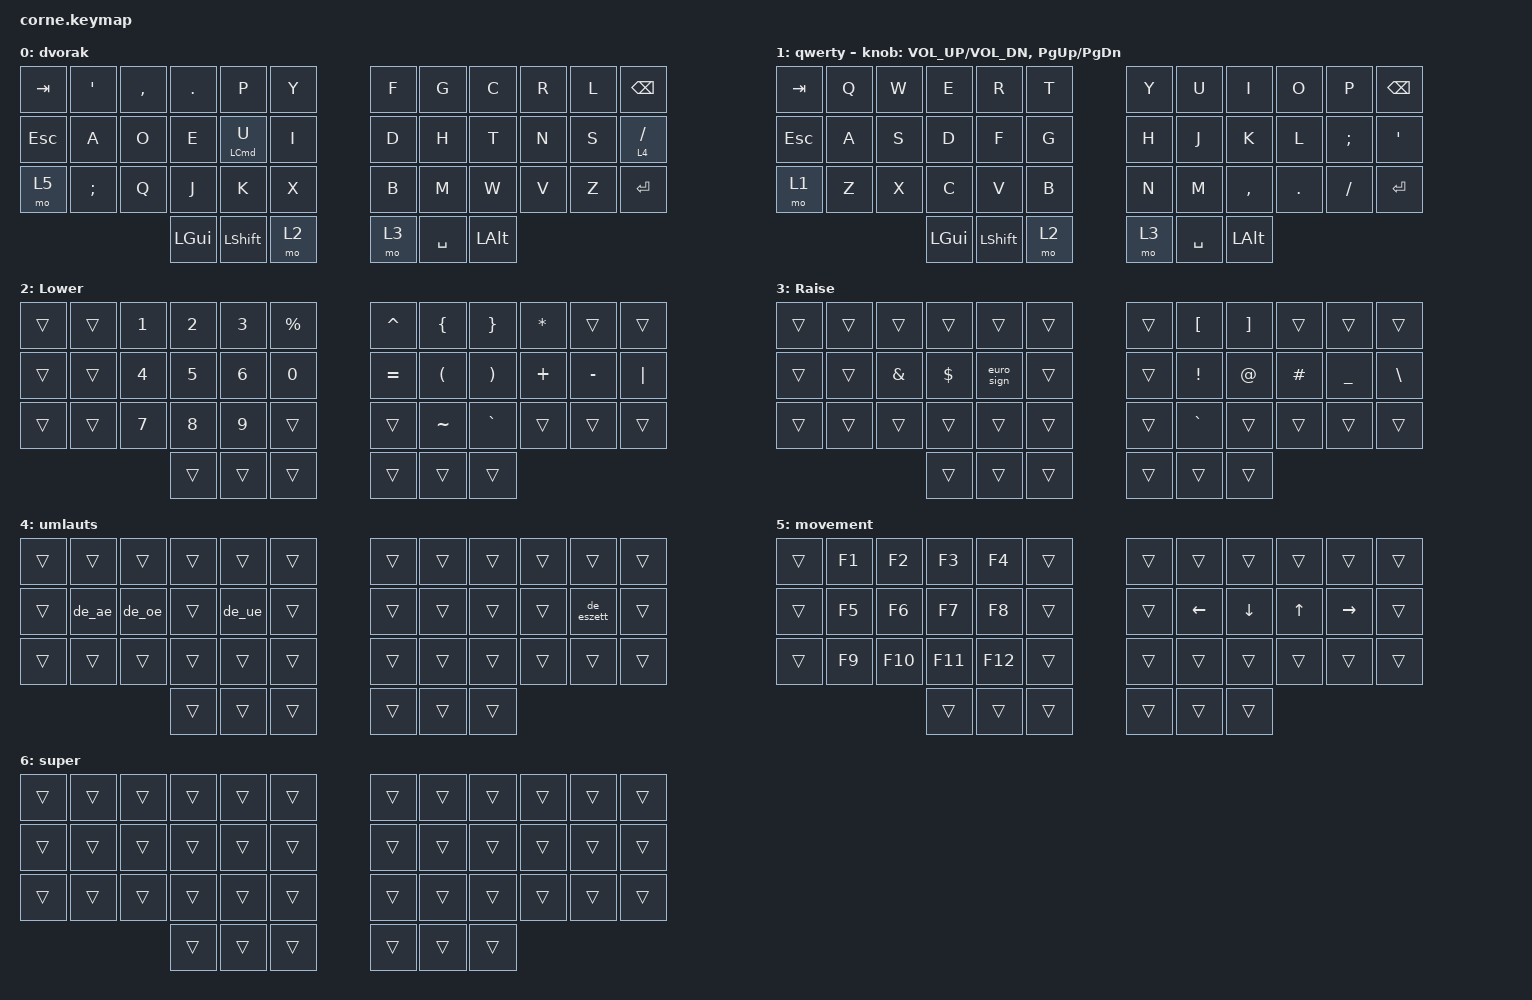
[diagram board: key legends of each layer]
/*
 * Copyright (c) 2020 The ZMK Contributors
 *
 * SPDX-License-Identifier: MIT
 */

#include <behaviors.dtsi>
#include <dt-bindings/zmk/keys.h>

// Copied from https://github.com/urob/zmk-nodefree-config

#define HOST_OS 2  // set to 2 for macOS/Windows-Alt-Codes, default is 0 (Windows)

#include "../zmk-nodefree-config/helper.h"
#include "../zmk-nodefree-config/international_chars/german.dtsi"

ZMK_UNICODE_SINGLE(euro_sign, N2, N0, A, C)

// Layers

#define DVORAK 0
#define QWERTY 1
#define LOWER 2
#define RAISE 3
#define UMLAUTS 4
#define MOVEMENT 5
#define SUPER 6

/ {
    keymap {
        compatible = "zmk,keymap";

        dvorak {
            // ---------------------------------------------------------------------------------------------------------------------------------
            // |  TAB  |  A  |  S  |  D   |  F   |  G   |   |  H   |  J    |  K    |  L   |   ;   |   '  |
            // |  ESC  |  Q  |  W  |  E   |  R   |  T   |   |  Y   |  U    |  I    |  O   |   P   |   \  |
            // | SHIFT |  Z  |  X  |  C   |  V   |  B   |   |  N   |  M    |  ,    |  .   |   /   | Enter|
            //                     | GUI  | DEL  |      |   |   RET   |  SPACE  | TAB  |

            bindings = <
&kp TAB  &kp SINGLE_QUOTE  &kp COMMA  &kp DOT   &kp P           &kp Y    &kp F  &kp G      &kp C         &kp R  &kp L  &kp BSPC
&kp ESC  &kp A             &kp O      &kp E     &mt LCMD U      &kp I    &kp D  &kp H      &kp T         &kp N  &kp S  &lt 4 SLASH
&mo 5    &kp SEMI          &kp Q      &kp J     &kp K           &kp X    &kp B  &kp M      &kp W         &kp V  &kp Z  &kp ENTER
                                      &kp LGUI  &kp LEFT_SHIFT  &mo 2    &mo 3  &kp SPACE  &kp LEFT_ALT
            >;
        };

        qwerty {
            // ---------------------------------------------------------------------------------------------------------------------------------
            // |  ESC  |  Q  |  W  |  E   |  R   |  T   |   |  Y   |  U    |  I    |  O   |   P   |   \  |
            // |  TAB  |  A  |  S  |  D   |  F   |  G   |   |  H   |  J    |  K    |  L   |   ;   |   '  |
            // | SHIFT |  Z  |  X  |  C   |  V   |  B   |   |  N   |  M    |  ,    |  .   |   /   | CTRL |
            //                     | GUI  | DEL  | RET  |   | TAB  | BSPC  | R-ALT |

            bindings = <
&kp TAB  &kp Q  &kp W  &kp E     &kp R           &kp T    &kp Y  &kp U      &kp I         &kp O    &kp P     &kp BSPC
&kp ESC  &kp A  &kp S  &kp D     &kp F           &kp G    &kp H  &kp J      &kp K         &kp L    &kp SEMI  &kp SQT
&mo 1    &kp Z  &kp X  &kp C     &kp V           &kp B    &kp N  &kp M      &kp COMMA     &kp DOT  &kp FSLH  &kp ENTER
                       &kp LGUI  &kp LEFT_SHIFT  &mo 2    &mo 3  &kp SPACE  &kp LEFT_ALT
            >;

            sensor-bindings = <&inc_dec_kp C_VOL_UP C_VOL_DN &inc_dec_kp PG_UP PG_DN>;
        };

        Lower {
            bindings = <
&trans  &trans  &kp NUMBER_1  &kp NUMBER_2  &kp NUMBER_3  &kp PERCENT     &kp CARET  &kp LEFT_BRACE        &kp RIGHT_BRACE        &kp STAR  &trans     &trans
&trans  &trans  &kp NUMBER_4  &kp NUMBER_5  &kp NUMBER_6  &kp NUMBER_0    &kp EQUAL  &kp LEFT_PARENTHESIS  &kp RIGHT_PARENTHESIS  &kp PLUS  &kp MINUS  &kp PIPE
&trans  &trans  &kp NUMBER_7  &kp NUMBER_8  &kp NUMBER_9  &trans          &trans     &kp TILDE             &kp GRAVE              &trans    &trans     &trans
                              &trans        &trans        &trans          &trans     &trans                &trans
            >;
        };

        Raise {
            bindings = <
&trans  &trans  &trans         &trans      &trans      &trans    &trans  &kp LEFT_BRACKET  &kp RIGHT_BRACKET  &trans    &trans     &trans
&trans  &trans  &kp AMPERSAND  &kp DOLLAR  &euro_sign  &trans    &trans  &kp EXCL          &kp AT             &kp HASH  &kp UNDER  &kp BSLH
&trans  &trans  &trans         &trans      &trans      &trans    &trans  &kp GRAVE         &trans             &trans    &trans     &trans
                               &trans      &trans      &trans    &trans  &trans            &trans
            >;
        };

        umlauts {
            bindings = <
&trans  &trans  &trans  &trans  &trans  &trans    &trans  &trans  &trans  &trans  &trans      &trans
&trans  &de_ae  &de_oe  &trans  &de_ue  &trans    &trans  &trans  &trans  &trans  &de_eszett  &trans
&trans  &trans  &trans  &trans  &trans  &trans    &trans  &trans  &trans  &trans  &trans      &trans
                        &trans  &trans  &trans    &trans  &trans  &trans
            >;
        };

        movement {
            bindings = <
&trans  &kp F1  &kp F2   &kp F3   &kp F4   &trans    &trans  &trans    &trans    &trans  &trans     &trans
&trans  &kp F5  &kp F6   &kp F7   &kp F8   &trans    &trans  &kp LEFT  &kp DOWN  &kp UP  &kp RIGHT  &trans
&trans  &kp F9  &kp F10  &kp F11  &kp F12  &trans    &trans  &trans    &trans    &trans  &trans     &trans
                         &trans   &trans   &trans    &trans  &trans    &trans
            >;
        };

        super {
            bindings = <
&trans  &trans  &trans  &trans  &trans  &trans    &trans  &trans  &trans  &trans  &trans  &trans
&trans  &trans  &trans  &trans  &trans  &trans    &trans  &trans  &trans  &trans  &trans  &trans
&trans  &trans  &trans  &trans  &trans  &trans    &trans  &trans  &trans  &trans  &trans  &trans
                        &trans  &trans  &trans    &trans  &trans  &trans
            >;
        };
    };
};
